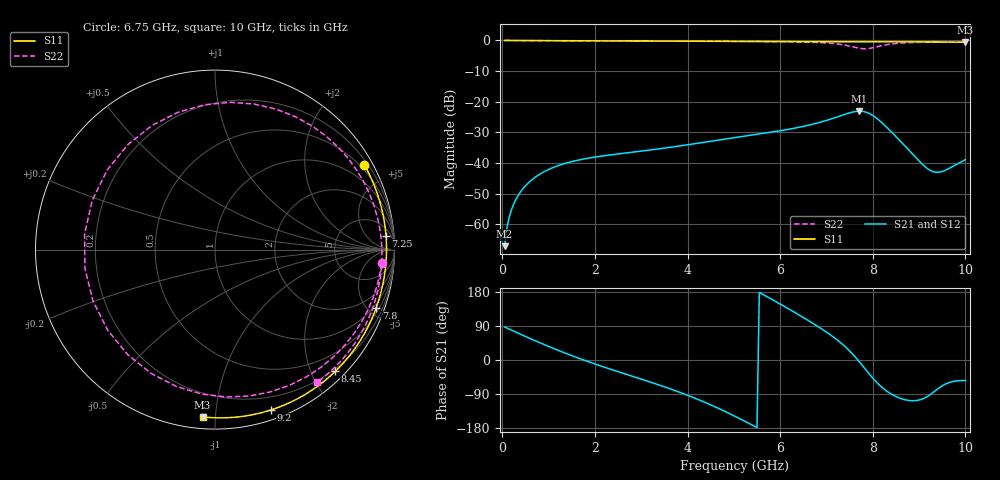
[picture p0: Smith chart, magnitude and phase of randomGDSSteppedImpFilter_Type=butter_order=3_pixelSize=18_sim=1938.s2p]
! freq	dB(S11)	phase(S11)	dB(S12)	phase(S12)
!  dB(S21)	phase(S21)	dB(S22)	phase(S22)
!S-par simulation data
#  GHz  S  DB  R 50
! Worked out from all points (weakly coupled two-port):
!   200 points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, 50 MHz to 10 GHz, reference 50 ohm
!   highest |S21| = -23.09 dB at 7.7 GHz (marker M1); lowest = -67.1 dB at 50 MHz (marker M2)
!   lowest |S11| = -0.6 dB at 10 GHz (marker M3), VSWR 29.45, Z = 3.16 - j46.3 ohm
!   |S11| at or under -10 dB: nowhere
!   |S22| runs from -2.7 to 0.0 dB; largest |S21 - S12| = 0
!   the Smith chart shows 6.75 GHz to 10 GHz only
!   S11 on the Smith chart (normalised r, x): 6.75 GHz: 0.34, +3.75; 7.25 GHz: 11, +19; 7.8 GHz: 0.76, -5.60; 8.45 GHz: 0.16, -2.38; 9.2 GHz: 0.08, -1.41; 10 GHz: 0.06, -0.93
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0.05  -0.00 -2.2  -67.13 87.1  -67.13 87.1  -0.00 -3.5
0.2  -0.01 -8.6  -55.16 78.6  -55.16 78.6  -0.02 -13.8
0.5  -0.03 -21.5  -47.44 62.1  -47.44 62.1  -0.05 -34.1
1.1  -0.06 -47.2  -41.45 30.8  -41.45 30.8  -0.09 -72.7
1.75  -0.10 -75.0  -38.71 0.2  -38.71 0.2  -0.13 -110.3
2.6  -0.15 -111.8  -36.85 -34.7  -36.85 -34.7  -0.16 -153.5
3.4  -0.20 -148.1  -35.34 -66.5  -35.34 -66.5  -0.19 169.4
4.25  -0.27 169.8  -33.48 -105.3  -33.48 -105.3  -0.22 130.9
5.05  -0.33 126.1  -31.66 -149.9  -31.66 -149.9  -0.27 93.3
5.85  -0.37 79.8  -29.84 158.1  -29.84 158.1  -0.35 52.3
6.7  -0.38 32.3  -27.35 97.4  -27.35 97.4  -0.59 -0.9
6.75  -0.38 29.6  -27.16 93.5  -27.16 93.5  -0.61 -4.7
7.25  -0.39 4.6  -24.86 51.2  -24.86 51.2  -1.18 -54.4
7.5  -0.40 -6.9  -23.62 23.9  -23.62 23.9  -1.85 -95.1
7.7  -0.40 -15.7  -23.09 -3.2  -23.09 -3.2  -2.52 -142.9
7.8  -0.40 -19.9  -23.20 -18.2  -23.20 -18.2  -2.71 -171.9
8.05  -0.40 -30.1  -25.01 -54.5  -25.01 -54.5  -2.21 116.9
8.35  -0.41 -41.7  -29.06 -86.1  -29.06 -86.1  -1.26 59.0
8.45  -0.41 -45.3  -30.58 -93.3  -30.58 -93.3  -1.06 45.6
8.75  -0.44 -55.9  -35.32 -106.2  -35.32 -106.2  -0.73 15.4
9.2  -0.48 -70.7  -42.03 -94.8  -42.03 -94.8  -0.57 -15.1
10  -0.59 -94.3  -38.90 -54.2  -38.90 -54.2  -0.60 -52.4
